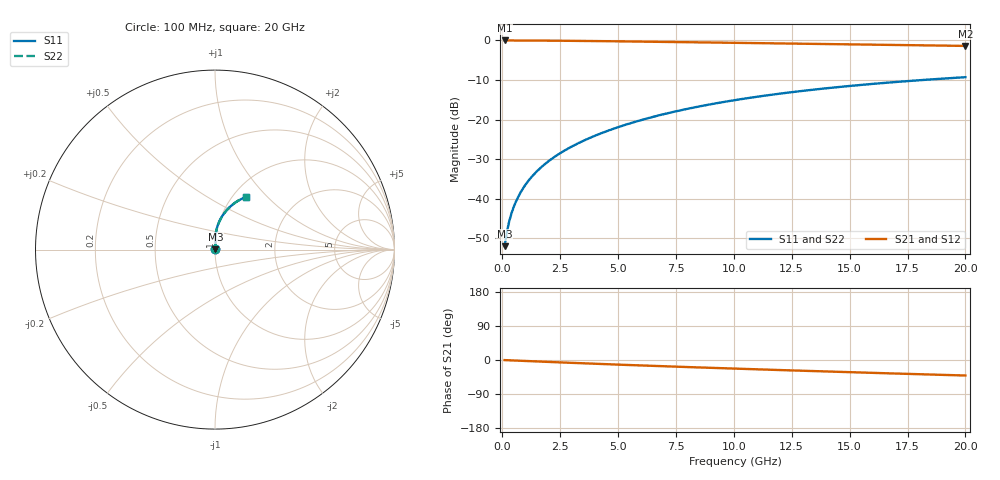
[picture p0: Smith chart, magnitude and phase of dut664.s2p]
! Touchstone file exported from HFSS 2024.1.0
!  File:  C:/UserFiles/LocalFiles/RDL_TSV_Batchsim/temp_RDL_top_664_1779781845.aedt
!  Generated:  03:52:52 PM May 26, 2026
!  Design:  RDL_top
!  Project:  temp_RDL_top_664_1779781845
!  Setup:  Setup1
!  Solution:  Sweep
! Variables:
!  dtsv = 10.80580581um
!  hbump = 3um
!  htsv = 70.53um
!  ldown = 100um
!  lrdl = 591.24um
!  p = 40
!  p1 = 55.98um
!  rhole = 1um
!  t = 450um
!  tdown = 3.915915916um
!  trdl = 4.69um
!  wdown = 15.38538539um
!  wrdl = 26.51um
# GHz S MA R 50.000000
! Terminal data exported
! Port[1] = Box2_T1
! Port[2] = Box2_T2
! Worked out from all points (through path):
!   200 points, 100 MHz to 20 GHz, reference 50 ohm
!   highest |S21| = -0.02 dB at 100 MHz (marker M1); lowest = -1.4 dB at 20 GHz (marker M2)
!   group delay of S21, straight-line fit = 5.61 ps
!   lowest |S11| = -52.0 dB at 100 MHz (marker M3), VSWR 1.01, Z = 50.2 + j0.166 ohm
!   |S11| at or under -10 dB: start of sweep to 18.18 GHz
!   |S22| runs from -52.0 to -9.3 dB; largest |S21 - S12| = 2e-15
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0.1  0.002508 41.3  0.9981 -0.3  0.9981 -0.3  0.002508 41.3
! Gamma 0 0 0 0
! Port Impedance 50 0 50 0
0.2  0.003806 58.0  0.9979 -0.5  0.9979 -0.5  0.003806 58.0
0.3  0.005184 65.6  0.9977 -0.8  0.9977 -0.8  0.005184 65.6
0.4  0.006561 70.1  0.9975 -1.0  0.9975 -1.0  0.006561 70.1
0.5  0.007938 73.2  0.9974 -1.3  0.9974 -1.3  0.007938 73.2
0.6  0.009323 75.5  0.9972 -1.6  0.9972 -1.6  0.009322 75.5
0.8  0.01212 78.8  0.9968 -2.1  0.9968 -2.1  0.01212 78.8
1.1  0.01641 81.9  0.9961 -2.8  0.9961 -2.8  0.01641 81.9
1.5  0.02226 84.4  0.9948 -3.8  0.9948 -3.8  0.02226 84.4
2.1  0.03132 86.4  0.9923 -5.3  0.9923 -5.3  0.03132 86.4
2.7  0.04072 87.5  0.9892 -6.8  0.9892 -6.8  0.04072 87.5
3.5  0.05381 88.1  0.9843 -8.7  0.9843 -8.7  0.05382 88.1
4.2  0.06578 88.1  0.9793 -10.4  0.9793 -10.4  0.0658 88.1
5  0.08 87.7  0.9732 -12.2  0.9732 -12.2  0.08002 87.7
5.9  0.09656 86.8  0.9661 -14.2  0.9661 -14.2  0.09659 86.8
6.8  0.1136 85.5  0.9587 -16.1  0.9587 -16.1  0.1136 85.5
8.4  0.1443 82.7  0.9454 -19.5  0.9454 -19.5  0.1443 82.7
10.1  0.1769 79.3  0.9313 -22.9  0.9313 -22.9  0.177 79.3
11.7  0.207 76.0  0.9182 -26.0  0.9182 -26.0  0.2071 76.0
13.4  0.2378 72.4  0.9044 -29.2  0.9044 -29.2  0.2379 72.4
16.7  0.2934 65.6  0.8779 -35.2  0.8779 -35.2  0.2935 65.6
20  0.3427 59.3  0.8518 -40.9  0.8518 -40.9  0.3428 59.3
